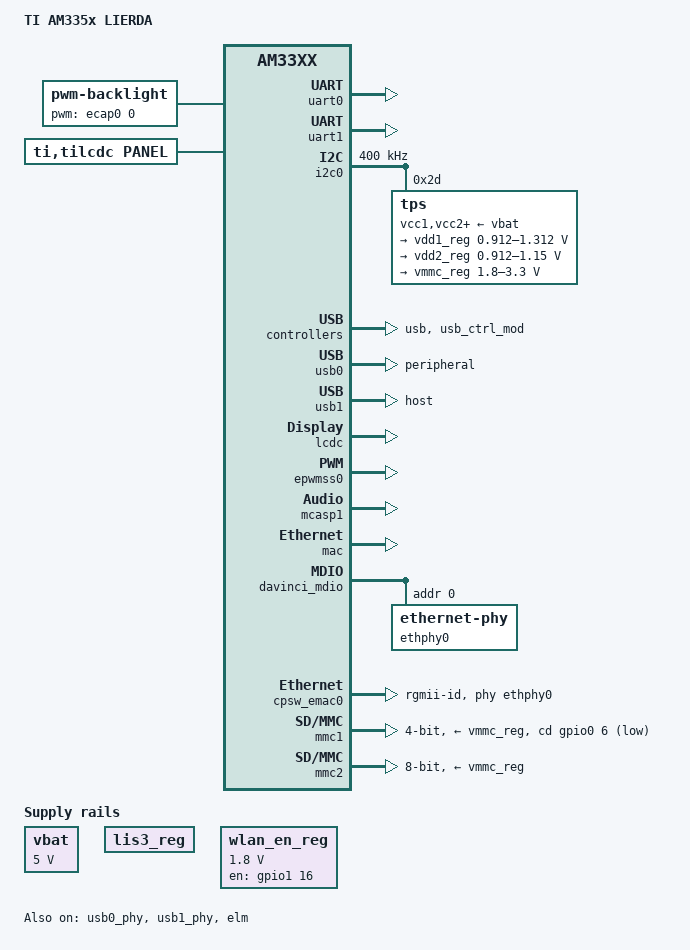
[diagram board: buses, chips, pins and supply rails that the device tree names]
/*
 * Copyright (C) 2012 Texas Instruments Incorporated - http://www.ti.com/
 *
 * This program is free software; you can redistribute it and/or modify
 * it under the terms of the GNU General Public License version 2 as
 * published by the Free Software Foundation.
 */
/dts-v1/;

#include "am33xx.dtsi"
#include <dt-bindings/interrupt-controller/irq.h>

/ {
	model = "TI AM335x LIERDA";
	compatible = "ti,am335x-evm", "ti,am33xx";

	chosen {
		stdout-path = &uart0;
		tick-timer = &timer2;
	};

	cpus {
		cpu@0 {
			cpu0-supply = <&vdd1_reg>;
		};
	};

	vbat: fixedregulator@0 {
		compatible = "regulator-fixed";
		regulator-name = "vbat";
		regulator-min-microvolt = <5000000>;
		regulator-max-microvolt = <5000000>;
		regulator-boot-on;
	};

	lis3_reg: fixedregulator@1 {
		compatible = "regulator-fixed";
		regulator-name = "lis3_reg";
		regulator-boot-on;
	};

	wlan_en_reg: fixedregulator@2 {
		compatible = "regulator-fixed";
		regulator-name = "wlan-en-regulator";
		regulator-min-microvolt = <1800000>;
		regulator-max-microvolt = <1800000>;

		/* WLAN_EN GPIO for this board - Bank1, pin16 */
		gpio = <&gpio1 16 0>;

		/* WLAN card specific delay */
		startup-delay-us = <70000>;
		enable-active-high;
	};

	backlight {
		compatible = "pwm-backlight";
		pwms = <&ecap0 0 50000 0>;
		brightness-levels = <0 51 53 56 62 75 101 152 255>;
		default-brightness-level = <8>;
	};

	panel {
		compatible = "ti,tilcdc,panel";
		status = "okay";
		pinctrl-names = "default";
		pinctrl-0 = <&lcd_pins_s0>;
		panel-info {
			ac-bias           = <255>;
			ac-bias-intrpt    = <0>;
			dma-burst-sz      = <16>;
			bpp               = <32>;
			fdd               = <0x80>;
			sync-edge         = <0>;
			sync-ctrl         = <1>;
			raster-order      = <0>;
			fifo-th           = <0>;
		};

		display-timings {
			800x480p62 {
				clock-frequency = <30000000>;
				hactive = <800>;
				vactive = <480>;
				hfront-porch = <39>;
				hback-porch = <39>;
				hsync-len = <47>;
				vback-porch = <29>;
				vfront-porch = <13>;
				vsync-len = <2>;
				hsync-active = <1>;
				vsync-active = <1>;
			};
		};
	};

	sound {
		compatible = "ti,da830-evm-audio";
		ti,model = "AM335x-EVM";
		ti,audio-codec = <&tlv320aic3106>;
		ti,mcasp-controller = <&mcasp1>;
		ti,codec-clock-rate = <12000000>;
		ti,audio-routing =
			"Headphone Jack",       "HPLOUT",
			"Headphone Jack",       "HPROUT",
			"LINE1L",               "Line In",
			"LINE1R",               "Line In";
	};
};

&am33xx_pinmux {
	pinctrl-names = "default";
	pinctrl-0 = <&clkout2_pin>;

	i2c0_pins: pinmux_i2c0_pins {
		pinctrl-single,pins = <
			0x188 (PIN_INPUT_PULLUP | MUX_MODE0)	/* i2c0_sda.i2c0_sda */
			0x18c (PIN_INPUT_PULLUP | MUX_MODE0)	/* i2c0_scl.i2c0_scl */
		>;
	};

	i2c1_pins: pinmux_i2c1_pins {
		pinctrl-single,pins = <
			0x158 (PIN_INPUT_PULLUP | MUX_MODE2)	/* spi0_d1.i2c1_sda */
			0x15c (PIN_INPUT_PULLUP | MUX_MODE2)	/* spi0_cs0.i2c1_scl */
		>;
	};

	uart0_pins: pinmux_uart0_pins {
		pinctrl-single,pins = <
			0x170 (PIN_INPUT_PULLUP | MUX_MODE0)	/* uart0_rxd.uart0_rxd */
			0x174 (PIN_OUTPUT_PULLDOWN | MUX_MODE0)	/* uart0_txd.uart0_txd */
		>;
	};

	uart1_pins: pinmux_uart1_pins {
		pinctrl-single,pins = <
			0x178 (PIN_INPUT | MUX_MODE0)		/* uart1_ctsn.uart1_ctsn */
			0x17C (PIN_OUTPUT_PULLDOWN | MUX_MODE0)	/* uart1_rtsn.uart1_rtsn */
			0x180 (PIN_INPUT_PULLUP | MUX_MODE0)	/* uart1_rxd.uart1_rxd */
			0x184 (PIN_OUTPUT_PULLDOWN | MUX_MODE0)	/* uart1_txd.uart1_txd */
		>;
	};

	clkout2_pin: pinmux_clkout2_pin {
		pinctrl-single,pins = <
			0x1b4 (PIN_OUTPUT_PULLDOWN | MUX_MODE3)	/* xdma_event_intr1.clkout2 */
		>;
	};

	ecap0_pins: backlight_pins {
		pinctrl-single,pins = <
			0x164 0x0	/* eCAP0_in_PWM0_out.eCAP0_in_PWM0_out MODE0 */
		>;
	};

	cpsw_default: cpsw_default {
		pinctrl-single,pins = <
			/* Slave 1 */
			0x114 (PIN_OUTPUT_PULLDOWN | MUX_MODE2)	/* mii1_txen.rgmii1_tctl */
			0x118 (PIN_INPUT_PULLDOWN | MUX_MODE2)	/* mii1_rxdv.rgmii1_rctl */
			0x11c (PIN_OUTPUT_PULLDOWN | MUX_MODE2)	/* mii1_txd3.rgmii1_td3 */
			0x120 (PIN_OUTPUT_PULLDOWN | MUX_MODE2)	/* mii1_txd2.rgmii1_td2 */
			0x124 (PIN_OUTPUT_PULLDOWN | MUX_MODE2)	/* mii1_txd1.rgmii1_td1 */
			0x128 (PIN_OUTPUT_PULLDOWN | MUX_MODE2)	/* mii1_txd0.rgmii1_td0 */
			0x12c (PIN_OUTPUT_PULLDOWN | MUX_MODE2)	/* mii1_txclk.rgmii1_tclk */
			0x130 (PIN_INPUT_PULLDOWN | MUX_MODE2)	/* mii1_rxclk.rgmii1_rclk */
			0x134 (PIN_INPUT_PULLDOWN | MUX_MODE2)	/* mii1_rxd3.rgmii1_rd3 */
			0x138 (PIN_INPUT_PULLDOWN | MUX_MODE2)	/* mii1_rxd2.rgmii1_rd2 */
			0x13c (PIN_INPUT_PULLDOWN | MUX_MODE2)	/* mii1_rxd1.rgmii1_rd1 */
			0x140 (PIN_INPUT_PULLDOWN | MUX_MODE2)	/* mii1_rxd0.rgmii1_rd0 */
		>;
	};

	cpsw_sleep: cpsw_sleep {
		pinctrl-single,pins = <
			/* Slave 1 reset value */
			0x114 (PIN_INPUT_PULLDOWN | MUX_MODE7)
			0x118 (PIN_INPUT_PULLDOWN | MUX_MODE7)
			0x11c (PIN_INPUT_PULLDOWN | MUX_MODE7)
			0x120 (PIN_INPUT_PULLDOWN | MUX_MODE7)
			0x124 (PIN_INPUT_PULLDOWN | MUX_MODE7)
			0x128 (PIN_INPUT_PULLDOWN | MUX_MODE7)
			0x12c (PIN_INPUT_PULLDOWN | MUX_MODE7)
			0x130 (PIN_INPUT_PULLDOWN | MUX_MODE7)
			0x134 (PIN_INPUT_PULLDOWN | MUX_MODE7)
			0x138 (PIN_INPUT_PULLDOWN | MUX_MODE7)
			0x13c (PIN_INPUT_PULLDOWN | MUX_MODE7)
			0x140 (PIN_INPUT_PULLDOWN | MUX_MODE7)
		>;
	};

	davinci_mdio_default: davinci_mdio_default {
		pinctrl-single,pins = <
			/* MDIO */
			0x148 (PIN_INPUT_PULLUP | SLEWCTRL_FAST | MUX_MODE0)	/* mdio_data.mdio_data */
			0x14c (PIN_OUTPUT_PULLUP | MUX_MODE0)			/* mdio_clk.mdio_clk */
		>;
	};

	davinci_mdio_sleep: davinci_mdio_sleep {
		pinctrl-single,pins = <
			/* MDIO reset value */
			0x148 (PIN_INPUT_PULLDOWN | MUX_MODE7)
			0x14c (PIN_INPUT_PULLDOWN | MUX_MODE7)
		>;
	};

	mmc1_pins: pinmux_mmc1_pins {
		pinctrl-single,pins = <
			0x160 (PIN_INPUT | MUX_MODE7) /* spi0_cs1.gpio0_6 */
		>;
	};

	// mmc3_pins: pinmux_mmc3_pins {
	// 	pinctrl-single,pins = <
	// 		0x44 (PIN_INPUT_PULLUP | MUX_MODE3)	/* gpmc_a1.mmc2_dat0, INPUT_PULLUP | MODE3 */
	// 		0x48 (PIN_INPUT_PULLUP | MUX_MODE3)	/* gpmc_a2.mmc2_dat1, INPUT_PULLUP | MODE3 */
	// 		0x4C (PIN_INPUT_PULLUP | MUX_MODE3)	/* gpmc_a3.mmc2_dat2, INPUT_PULLUP | MODE3 */
	// 		0x78 (PIN_INPUT_PULLUP | MUX_MODE3)	/* gpmc_ben1.mmc2_dat3, INPUT_PULLUP | MODE3 */
	// 		0x88 (PIN_INPUT_PULLUP | MUX_MODE3)	/* gpmc_csn3.mmc2_cmd, INPUT_PULLUP | MODE3 */
	// 		0x8C (PIN_INPUT_PULLUP | MUX_MODE3)	/* gpmc_clk.mmc2_clk, INPUT_PULLUP | MODE3 */
	// 	>;
	// };

	emmc_pins: pinmux_emmc_pins {
		pinctrl-single,pins = <
			0x80 (PIN_INPUT_PULLUP | MUX_MODE2) /* gpmc_csn1.mmc1_clk */
			0x84 (PIN_INPUT_PULLUP | MUX_MODE2) /* gpmc_csn2.mmc1_cmd */
			0x00 (PIN_INPUT_PULLUP | MUX_MODE1) /* gpmc_ad0.mmc1_dat0 */
			0x04 (PIN_INPUT_PULLUP | MUX_MODE1) /* gpmc_ad1.mmc1_dat1 */
			0x08 (PIN_INPUT_PULLUP | MUX_MODE1) /* gpmc_ad2.mmc1_dat2 */
			0x0c (PIN_INPUT_PULLUP | MUX_MODE1) /* gpmc_ad3.mmc1_dat3 */
			0x10 (PIN_INPUT_PULLUP | MUX_MODE1) /* gpmc_ad4.mmc1_dat4 */
			0x14 (PIN_INPUT_PULLUP | MUX_MODE1) /* gpmc_ad5.mmc1_dat5 */
			0x18 (PIN_INPUT_PULLUP | MUX_MODE1) /* gpmc_ad6.mmc1_dat6 */
			0x1c (PIN_INPUT_PULLUP | MUX_MODE1) /* gpmc_ad7.mmc1_dat7 */
		>;
	};

	wlan_pins: pinmux_wlan_pins {
		pinctrl-single,pins = <
			0x40 (PIN_OUTPUT_PULLDOWN | MUX_MODE7)	/* gpmc_a0.gpio1_16 */
			0x19C (PIN_INPUT | MUX_MODE7)		/* mcasp0_ahclkr.gpio3_17 */
			0x1AC (PIN_OUTPUT_PULLDOWN | MUX_MODE7)	/* mcasp0_ahclkx.gpio3_21 */
		>;
	};

	lcd_pins_s0: lcd_pins_s0 {
		pinctrl-single,pins = <
			0x20 (PIN_OUTPUT | MUX_MODE1)		/* gpmc_ad8.lcd_data23 */
			0x24 (PIN_OUTPUT | MUX_MODE1)		/* gpmc_ad9.lcd_data22 */
			0x28 (PIN_OUTPUT | MUX_MODE1)		/* gpmc_ad10.lcd_data21 */
			0x2c (PIN_OUTPUT | MUX_MODE1)		/* gpmc_ad11.lcd_data20 */
			0x30 (PIN_OUTPUT | MUX_MODE1)		/* gpmc_ad12.lcd_data19 */
			0x34 (PIN_OUTPUT | MUX_MODE1)		/* gpmc_ad13.lcd_data18 */
			0x38 (PIN_OUTPUT | MUX_MODE1)		/* gpmc_ad14.lcd_data17 */
			0x3c (PIN_OUTPUT | MUX_MODE1)		/* gpmc_ad15.lcd_data16 */
			0xa0 (PIN_OUTPUT | MUX_MODE0)		/* lcd_data0.lcd_data0 */
			0xa4 (PIN_OUTPUT | MUX_MODE0)		/* lcd_data1.lcd_data1 */
			0xa8 (PIN_OUTPUT | MUX_MODE0)		/* lcd_data2.lcd_data2 */
			0xac (PIN_OUTPUT | MUX_MODE0)		/* lcd_data3.lcd_data3 */
			0xb0 (PIN_OUTPUT | MUX_MODE0)		/* lcd_data4.lcd_data4 */
			0xb4 (PIN_OUTPUT | MUX_MODE0)		/* lcd_data5.lcd_data5 */
			0xb8 (PIN_OUTPUT | MUX_MODE0)		/* lcd_data6.lcd_data6 */
			0xbc (PIN_OUTPUT | MUX_MODE0)		/* lcd_data7.lcd_data7 */
			0xc0 (PIN_OUTPUT | MUX_MODE0)		/* lcd_data8.lcd_data8 */
			0xc4 (PIN_OUTPUT | MUX_MODE0)		/* lcd_data9.lcd_data9 */
			0xc8 (PIN_OUTPUT | MUX_MODE0)		/* lcd_data10.lcd_data10 */
			0xcc (PIN_OUTPUT | MUX_MODE0)		/* lcd_data11.lcd_data11 */
			0xd0 (PIN_OUTPUT | MUX_MODE0)		/* lcd_data12.lcd_data12 */
			0xd4 (PIN_OUTPUT | MUX_MODE0)		/* lcd_data13.lcd_data13 */
			0xd8 (PIN_OUTPUT | MUX_MODE0)		/* lcd_data14.lcd_data14 */
			0xdc (PIN_OUTPUT | MUX_MODE0)		/* lcd_data15.lcd_data15 */
			0xe0 (PIN_OUTPUT | MUX_MODE0)		/* lcd_vsync.lcd_vsync */
			0xe4 (PIN_OUTPUT | MUX_MODE0)		/* lcd_hsync.lcd_hsync */
			0xe8 (PIN_OUTPUT | MUX_MODE0)		/* lcd_pclk.lcd_pclk */
			0xec (PIN_OUTPUT | MUX_MODE0)		/* lcd_ac_bias_en.lcd_ac_bias_en */
		>;
	};

	am335x_evm_audio_pins: am335x_evm_audio_pins {
		pinctrl-single,pins = <
			0x10c (PIN_INPUT_PULLDOWN | MUX_MODE4) /* mii1_crs.mcasp1_aclkx */
			0x110 (PIN_INPUT_PULLDOWN | MUX_MODE4) /* mii1_rxerr.mcasp1_fsx */
			0x108 (PIN_OUTPUT_PULLDOWN | MUX_MODE4) /* mii1_col.mcasp1_axr2 */
			0x144 (PIN_INPUT_PULLDOWN | MUX_MODE4) /* rmii1_ref_clk.mcasp1_axr3 */
		>;
	};

	dcan1_pins_default: dcan1_pins_default {
		pinctrl-single,pins = <
			0x168 (PIN_OUTPUT | MUX_MODE2) /* uart0_ctsn.d_can1_tx */
			0x16c (PIN_INPUT_PULLDOWN | MUX_MODE2) /* uart0_rtsn.d_can1_rx */
		>;
	};
};

&uart0 {
	pinctrl-names = "default";
	pinctrl-0 = <&uart0_pins>;

	status = "okay";
};

&uart1 {
	pinctrl-names = "default";
	pinctrl-0 = <&uart1_pins>;

	status = "okay";
};

&i2c0 {
	pinctrl-names = "default";
	pinctrl-0 = <&i2c0_pins>;

	status = "okay";
	clock-frequency = <400000>;

	tps: tps@2d {
		reg = <0x2d>;
	};
};

&usb {
	status = "okay";
};

&usb_ctrl_mod {
	status = "okay";
};

&usb0_phy {
	status = "okay";
};

&usb1_phy {
	status = "okay";
};

&usb0 {
	status = "okay";
	dr_mode = "peripheral";
};

&usb1 {
	status = "okay";
	dr_mode = "host";
};

&cppi41dma  {
	status = "okay";
};

&i2c1 {
	pinctrl-names = "default";
	pinctrl-0 = <&i2c1_pins>;

	status = "disabled";
	clock-frequency = <100000>;

	lis331dlh: lis331dlh@18 {
		compatible = "st,lis331dlh", "st,lis3lv02d";
		reg = <0x18>;
		Vdd-supply = <&lis3_reg>;
		Vdd_IO-supply = <&lis3_reg>;

		st,click-single-x;
		st,click-single-y;
		st,click-single-z;
		st,click-thresh-x = <10>;
		st,click-thresh-y = <10>;
		st,click-thresh-z = <10>;
		st,irq1-click;
		st,irq2-click;
		st,wakeup-x-lo;
		st,wakeup-x-hi;
		st,wakeup-y-lo;
		st,wakeup-y-hi;
		st,wakeup-z-lo;
		st,wakeup-z-hi;
		st,min-limit-x = <120>;
		st,min-limit-y = <120>;
		st,min-limit-z = <140>;
		st,max-limit-x = <550>;
		st,max-limit-y = <550>;
		st,max-limit-z = <750>;
	};

	tsl2550: tsl2550@39 {
		compatible = "taos,tsl2550";
		reg = <0x39>;
	};

	tmp275: tmp275@48 {
		compatible = "ti,tmp275";
		reg = <0x48>;
	};

	tlv320aic3106: tlv320aic3106@1b {
		compatible = "ti,tlv320aic3106";
		reg = <0x1b>;
		status = "okay";

		/* Regulators */
		AVDD-supply = <&vaux2_reg>;
		IOVDD-supply = <&vaux2_reg>;
		DRVDD-supply = <&vaux2_reg>;
		DVDD-supply = <&vbat>;
	};
};

&lcdc {
	status = "okay";
};

&elm {
	status = "okay";
};

&epwmss0 {
	status = "okay";

	ecap0: ecap@48300100 {
		status = "okay";
		pinctrl-names = "default";
		pinctrl-0 = <&ecap0_pins>;
	};
};

#include "tps65910.dtsi"

&mcasp1 {
		pinctrl-names = "default";
		pinctrl-0 = <&am335x_evm_audio_pins>;

		status = "okay";

		op-mode = <0>;          /* MCASP_IIS_MODE */
		tdm-slots = <2>;
		/* 4 serializers */
		serial-dir = <  /* 0: INACTIVE, 1: TX, 2: RX */
			0 0 1 2
		>;
		tx-num-evt = <32>;
		rx-num-evt = <32>;
};

&tps {
	vcc1-supply = <&vbat>;
	vcc2-supply = <&vbat>;
	vcc3-supply = <&vbat>;
	vcc4-supply = <&vbat>;
	vcc5-supply = <&vbat>;
	vcc6-supply = <&vbat>;
	vcc7-supply = <&vbat>;
	vccio-supply = <&vbat>;

	regulators {
		vrtc_reg: regulator@0 {
			regulator-always-on;
		};

		vio_reg: regulator@1 {
			regulator-always-on;
		};

		vdd1_reg: regulator@2 {
			/* VDD_MPU voltage limits 0.95V - 1.26V with +/-4% tolerance */
			regulator-name = "vdd_mpu";
			regulator-min-microvolt = <912500>;
			regulator-max-microvolt = <1312500>;
			regulator-boot-on;
			regulator-always-on;
		};

		vdd2_reg: regulator@3 {
			/* VDD_CORE voltage limits 0.95V - 1.1V with +/-4% tolerance */
			regulator-name = "vdd_core";
			regulator-min-microvolt = <912500>;
			regulator-max-microvolt = <1150000>;
			regulator-boot-on;
			regulator-always-on;
		};

		vdd3_reg: regulator@4 {
			regulator-always-on;
		};

		vdig1_reg: regulator@5 {
			regulator-always-on;
		};

		vdig2_reg: regulator@6 {
			regulator-always-on;
		};

		vpll_reg: regulator@7 {
			regulator-always-on;
		};

		vdac_reg: regulator@8 {
			regulator-always-on;
		};

		vaux1_reg: regulator@9 {
			regulator-always-on;
		};

		vaux2_reg: regulator@10 {
			regulator-always-on;
		};

		vaux33_reg: regulator@11 {
			regulator-always-on;
		};

		vmmc_reg: regulator@12 {
			regulator-min-microvolt = <1800000>;
			regulator-max-microvolt = <3300000>;
			regulator-always-on;
		};
	};
};

&mac {
	pinctrl-names = "default", "sleep";
	pinctrl-0 = <&cpsw_default>;
	pinctrl-1 = <&cpsw_sleep>;
	status = "okay";
	slaves = <1>;
};

&davinci_mdio {
	pinctrl-names = "default", "sleep";
	pinctrl-0 = <&davinci_mdio_default>;
	pinctrl-1 = <&davinci_mdio_sleep>;
	status = "okay";

	ethphy0: ethernet-phy@0 {
		reg = <0>;
	};
};

&cpsw_emac0 {
	phy-handle = <&ethphy0>;
	phy-mode = "rgmii-id";
};

&tscadc {
	status = "disabled";
	tsc {
		ti,wires = <4>;
		ti,x-plate-resistance = <200>;
		ti,coordinate-readouts = <5>;
		ti,wire-config = <0x00 0x11 0x22 0x33>;
		ti,charge-delay = <0x400>;
	};

	adc {
		ti,adc-channels = <4 5 6 7>;
	};
};

&mmc1 {
	status = "okay";
	vmmc-supply = <&vmmc_reg>;
	bus-width = <4>;
	pinctrl-names = "default";
	pinctrl-0 = <&mmc1_pins>;
	cd-gpios = <&gpio0 6 GPIO_ACTIVE_LOW>;
};

&mmc2 {
	vmmc-supply = <&vmmc_reg>;
	pinctrl-names = "default";
	pinctrl-0 = <&emmc_pins>;
	bus-width = <8>;
	status = "okay";
};

// &mmc3 {
// 	/* these are on the crossbar and are outlined in the
// 	   xbar-event-map element */
// 	dmas = <&edma 12 0
// 		&edma 13 0>;
// 	dma-names = "tx", "rx";
// 	status = "disabled";
// 	vmmc-supply = <&wlan_en_reg>;
// 	bus-width = <4>;
// 	pinctrl-names = "default";
// 	pinctrl-0 = <&mmc3_pins &wlan_pins>;
// 	ti,non-removable;
// 	ti,needs-special-hs-handling;
// 	cap-power-off-card;
// 	keep-power-in-suspend;

// 	#address-cells = <1>;
// 	#size-cells = <0>;
// 	wlcore: wlcore@0 {
// 		compatible = "ti,wl1835";
// 		reg = <2>;
// 		interrupt-parent = <&gpio3>;
// 		interrupts = <17 IRQ_TYPE_LEVEL_HIGH>;
// 	};
// };

&edma {
	ti,edma-xbar-event-map = /bits/ 16 <1 12
					    2 13>;
};

&sham {
	status = "disabled";
};

&aes {
	status = "disabled";
};

&dcan1 {
	status = "disabled";	/* Enable only if Profile 1 is selected */
	pinctrl-names = "default";
	pinctrl-0 = <&dcan1_pins_default>;
};
